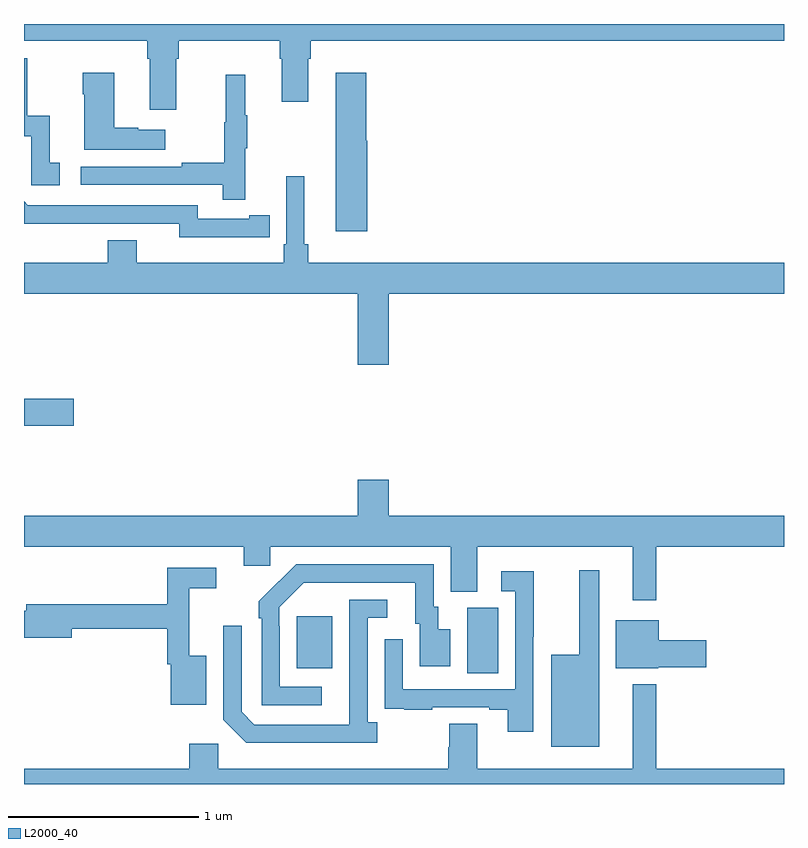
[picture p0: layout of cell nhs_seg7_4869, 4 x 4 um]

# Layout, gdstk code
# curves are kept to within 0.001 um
import gdstk
lib = gdstk.Library(unit=1e-6, precision=1e-09)
def R(c, l, rs):  # rectangles x0, y0, x1, y1
    for r in rs: c.add(gdstk.rectangle(r[:2], r[2:], *l))
def P(c, l, *ps):  # polygons
    for p in ps: c.add(gdstk.Polygon(p, *l))
L2000_40 = (2000, 40)

nhs_seg7_4869 = lib.new_cell('nhs_seg7_4869')
R(nhs_seg7_4869, L2000_40, [(417.332,1034.584,417.496,1034.928), (416.435,1034.609,416.623,1034.884), (415,1035.886,415.261,1036.028)])
P(nhs_seg7_4869, L2000_40, [(415.801,1037.816),(415.814,1037.816),(415.814,1037.912),(416.345,1037.912),(416.345,1037.816),(416.357,1037.816),(416.357,1037.592),(416.497,1037.592),(416.497,1037.816),(416.51,1037.816),(416.51,1037.912),(419,1037.912),(419,1038),(415,1038),(415,1037.912),(415.649,1037.912),(415.649,1037.816),(415.661,1037.816),(415.661,1037.55),(415.801,1037.55)],
  [(415.189,1037.271),(415.136,1037.271),(415.136,1037.518),(415.018,1037.518),(415.018,1037.82),(415,1037.82),(415,1037.409),(415.038,1037.409),(415.038,1037.151),(415.189,1037.151)],
  [(415.744,1037.443),(415.601,1037.443),(415.601,1037.453),(415.474,1037.453),(415.474,1037.743),(415.309,1037.743),(415.309,1037.63),(415.316,1037.63),(415.316,1037.339),(415.744,1037.339)],
  [(416.806,1037.385),(416.801,1037.385),(416.801,1037.743),(416.642,1037.743),(416.642,1036.908),(416.806,1036.908)],
  [(416.165,1037.347),(416.176,1037.347),(416.176,1037.521),(416.165,1037.521),(416.165,1037.734),(416.062,1037.734),(416.062,1037.484),(416.055,1037.484),(416.055,1037.27),(415.831,1037.27),(415.831,1037.25),(415.299,1037.25),(415.299,1037.154),(416.047,1037.154),(416.047,1037.076),(416.165,1037.076)],
  [(416.92,1036.58),(419,1036.58),(419,1036.744),(416.495,1036.744),(416.495,1036.84),(416.476,1036.84),(416.476,1037.2),(416.379,1037.2),(416.379,1036.84),(416.366,1036.84),(416.366,1036.744),(415.594,1036.744),(415.594,1036.861),(415.442,1036.861),(415.442,1036.744),(415,1036.744),(415,1036.58),(416.756,1036.58),(416.756,1036.206),(416.92,1036.206)],
  [(416.186,1036.878),(416.294,1036.878),(416.294,1036.994),(416.186,1036.994),(416.186,1036.974),(415.914,1036.974),(415.914,1037.046),(415.02,1037.046),(415,1037.066),(415,1036.949),(415.818,1036.95),(415.818,1036.877)],
  [(418.327,1035.248),(419,1035.248),(419,1035.412),(416.92,1035.412),(416.92,1035.601),(416.756,1035.601),(416.756,1035.412),(415,1035.412),(415,1035.248),(416.156,1035.248),(416.156,1035.15),(416.295,1035.15),(416.295,1035.248),(417.245,1035.248),(417.245,1035.013),(417.385,1035.013),(417.385,1035.248),(418.205,1035.248),(418.205,1034.967),(418.327,1034.967)],
  [(416.566,1034.511),(416.346,1034.511),(416.346,1034.831),(416.343,1034.831),(416.343,1034.931),(416.472,1035.06),(417.059,1035.06),(417.059,1034.844),(417.083,1034.844),(417.083,1034.619),(417.244,1034.619),(417.244,1034.815),(417.181,1034.815),(417.181,1034.934),(417.156,1034.934),(417.156,1035.156),(416.432,1035.156),(416.235,1034.961),(416.235,1034.873),(416.25,1034.873),(416.25,1034.415),(416.566,1034.415)],
  [(415.96,1034.674),(415.871,1034.674),(415.871,1035.03),(416.011,1035.03),(416.011,1035.138),(415.753,1035.138),(415.753,1034.947),(415.013,1034.947),(415.013,1034.913),(415,1034.913),(415,1034.771),(415.252,1034.771),(415.252,1034.818),(415.753,1034.818),(415.753,1034.631),(415.772,1034.631),(415.772,1034.417),(415.96,1034.417)],
  [(418.027,1035.124),(417.923,1035.124),(417.923,1034.68),(417.776,1034.68),(417.776,1034.195),(418.027,1034.195)],
  [(417.681,1034.776),(417.684,1034.776),(417.684,1035.121),(417.513,1035.121),(417.513,1035.015),(417.585,1035.015),(417.585,1034.499),(416.994,1034.499),(416.994,1034.761),(416.898,1034.761),(416.898,1034.506),(416.899,1034.506),(416.899,1034.397),(417.001,1034.397),(417.001,1034.391),(417.149,1034.391),(417.149,1034.403),(417.449,1034.403),(417.449,1034.391),(417.545,1034.391),(417.545,1034.274),(417.681,1034.274)],
  [(416.86,1034.326),(416.808,1034.326),(416.808,1034.874),(416.911,1034.874),(416.911,1034.97),(416.712,1034.97),(416.711,1034.313),(416.211,1034.313),(416.145,1034.379),(416.145,1034.833),(416.049,1034.833),(416.049,1034.337),(416.17,1034.216),(416.86,1034.216)],
  [(418.338,1034.615),(418.591,1034.615),(418.591,1034.757),(418.342,1034.757),(418.342,1034.863),(418.115,1034.863),(418.115,1034.609),(418.338,1034.609)],
  [(419,1034.08),(418.327,1034.08),(418.327,1034.524),(418.205,1034.524),(418.205,1034.08),(417.385,1034.08),(417.385,1034.318),(417.238,1034.318),(417.238,1034.193),(417.233,1034.193),(417.233,1034.08),(416.022,1034.08),(416.022,1034.212),(415.871,1034.212),(415.871,1034.08),(415,1034.08),(415,1034),(419,1034)])

lib.write_gds('nhs_seg7_4869.gds')
